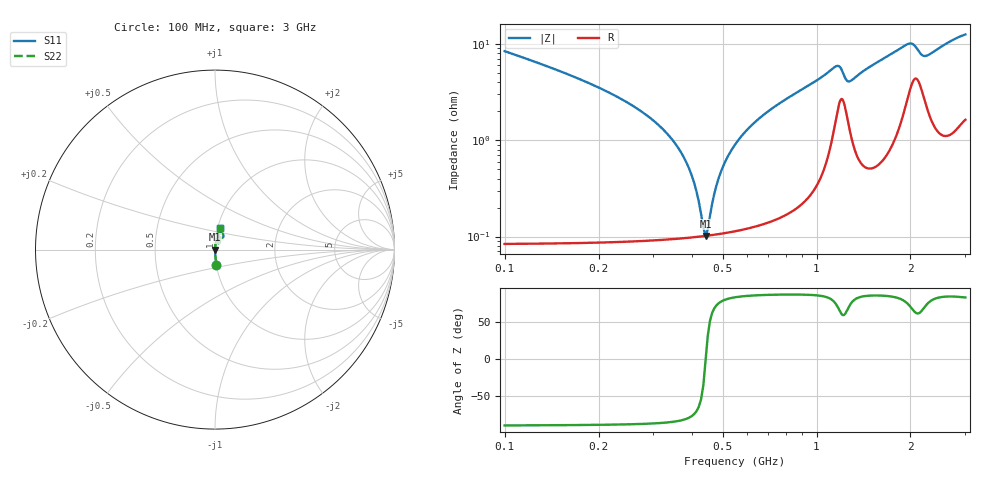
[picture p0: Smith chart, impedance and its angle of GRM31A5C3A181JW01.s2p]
!Murata Part Number: GRM31A5C3A181JW01
!These Parameters are Measured in Series Mode Connection
!Data Generated on Mar 30, 2021
!  o--ll--o
!Port1  Port2
!  o------o
!Operation Temp=25[degC], DC Bias Voltage=0[V]
!Freq. Start=100[MHz] Stop=3[GHz] 401[Steps]
# Hz S RI R 50
!Freq.(Hz) S11(Real) S11(Imag) S21(Real) S21(Imag) S12(Real) S12(Imag) S22(Real) S22(Imag)
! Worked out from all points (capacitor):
!   401 points, 100 MHz to 3 GHz, reference 50 ohm
!   read as one part in series: C = 180 pF near 114.5 MHz
!   lowest |Z| = 102 mohm at 440.8 MHz (marker M1)
!   series resonance near 441.3 MHz, so ESL is about 720 pH
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1e8  0.00782 -0.0832  0.9922 0.0832  0.9922 0.0832  0.00782 -0.0832
2.8125e8  0.00125 -0.0187  0.9987 0.0187  0.9987 0.0187  0.00125 -0.0187
3.465e8  0.00104 -0.00984  0.999 0.00984  0.999 0.00984  0.00104 -0.00984
3.9e8  0.000996 -0.005  0.999 0.005  0.999 0.005  0.000996 -0.005
4.045e8  0.000995 -0.00352  0.999 0.00352  0.999 0.00352  0.000995 -0.00352
4.2625e8  0.001 -0.0014  0.999 0.0014  0.999 0.0014  0.001 -0.0014
4.4075e8  0.00101 -5.02e-05  0.999 5.02e-05  0.999 5.02e-05  0.00101 -5.02e-05
4.5525e8  0.00103 0.00126  0.999 -0.00126  0.999 -0.00126  0.00103 0.00126
4.77e8  0.00106 0.00316  0.9989 -0.00316  0.9989 -0.00316  0.00106 0.00316
5.06e8  0.00111 0.00559  0.9989 -0.00559  0.9989 -0.00559  0.00111 0.00559
5.4225e8  0.0012 0.00847  0.9988 -0.00847  0.9988 -0.00847  0.0012 0.00847
5.8575e8  0.00132 0.0118  0.9987 -0.0118  0.9987 -0.0118  0.00132 0.0118
7.525e8  0.00208 0.0234  0.9979 -0.0234  0.9979 -0.0234  0.00208 0.0234
1.0715e9  0.00796 0.0476  0.992 -0.0476  0.992 -0.0476  0.00796 0.0476
1.173e9  0.024 0.0525  0.976 -0.0525  0.976 -0.0525  0.024 0.0525
1.2745e9  0.0144 0.0375  0.9856 -0.0375  0.9856 -0.0375  0.0144 0.0375
1.55e9  0.00917 0.062  0.9908 -0.062  0.9908 -0.062  0.00917 0.062
1.9125e9  0.028 0.0888  0.972 -0.0888  0.972 -0.0888  0.028 0.0888
2.03575e9  0.0461 0.0831  0.9539 -0.0831  0.9539 -0.0831  0.0461 0.0831
2.217e9  0.0302 0.0661  0.9698 -0.0661  0.9698 -0.0661  0.0302 0.0661
2.5215e9  0.0196 0.0908  0.9804 -0.0908  0.9804 -0.0908  0.0196 0.0908
3e9  0.0304 0.1182  0.9696 -0.1182  0.9696 -0.1182  0.0304 0.1182
